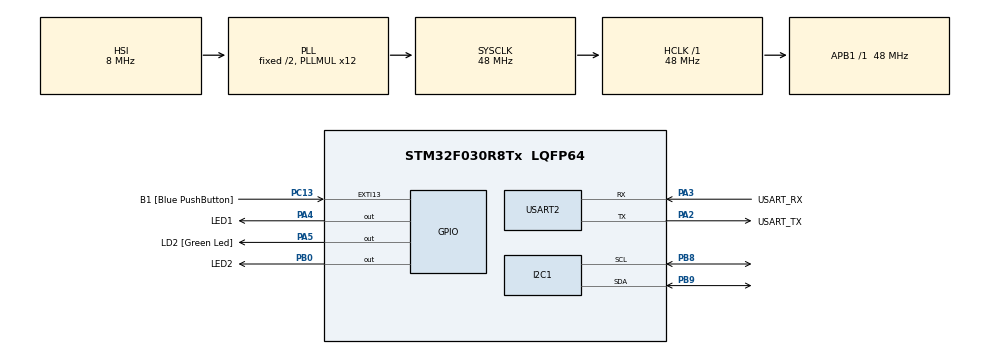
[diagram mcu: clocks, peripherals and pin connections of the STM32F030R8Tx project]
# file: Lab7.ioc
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FREERTOS.Queues01=xVisualQueue,16,uint16_t,0,Dynamic,NULL,NULL
FREERTOS.Tasks01=defaultTask,0,128,StartDefaultTask,Default,NULL,Dynamic,NULL,NULL;VisualTask,-3,128,StartVisualTask,Default,NULL,Dynamic,NULL,NULL;AcceleroTask,-3,128,StartAcceleroTask,Default,NULL,Dynamic,NULL,NULL
FREERTOS.configUSE_NEWLIB_REENTRANT=1
Mcu.Family=STM32F0
Mcu.Name=STM32F030R8Tx
Mcu.Package=LQFP64
NVIC.TIM14_IRQn=true\:3\:0\:false\:false\:true\:false\:false\:true
NVIC.TimeBase=TIM14_IRQn
NVIC.TimeBaseIP=TIM14
PA13.GPIO_Label=TMS
PA13.Mode=Serial_Wire
PA13.Signal=SYS_SWDIO
PA14.GPIO_Label=TCK
PA14.Mode=Serial_Wire
PA14.Signal=SYS_SWCLK
PA2.GPIO_Label=USART_TX
PA2.GPIO_Mode=GPIO_MODE_AF_PP
PA2.GPIO_PuPd=GPIO_NOPULL
PA2.GPIO_Speed=GPIO_SPEED_FREQ_LOW
PA2.Mode=Asynchronous
PA2.Signal=USART2_TX
PA3.GPIO_Label=USART_RX
PA3.GPIO_Mode=GPIO_MODE_AF_PP
PA3.GPIO_PuPd=GPIO_NOPULL
PA3.GPIO_Speed=GPIO_SPEED_FREQ_LOW
PA3.Mode=Asynchronous
PA3.Signal=USART2_RX
PA4.GPIO_Label=LED1
PA4.Signal=GPIO_Output
PA5.GPIO_Label=LD2 [Green Led]
PA5.GPIO_Mode=GPIO_MODE_OUTPUT_PP
PA5.GPIO_PuPd=GPIO_NOPULL
PA5.GPIO_Speed=GPIO_SPEED_FREQ_LOW
PA5.Signal=GPIO_Output
PB0.GPIO_Label=LED2
PB0.Signal=GPIO_Output
PB8.Mode=I2C
PB8.Signal=I2C1_SCL
PB9.Mode=I2C
PB9.Signal=I2C1_SDA
PC13.GPIO_Label=B1 [Blue PushButton]
PC13.GPIO_ModeDefaultEXTI=GPIO_MODE_IT_FALLING
PC13.Signal=GPXTI13
PC14-OSC32_IN.Mode=LSE-External-Oscillator
PC14-OSC32_IN.Signal=RCC_OSC32_IN
PC15-OSC32_OUT.Mode=LSE-External-Oscillator
PC15-OSC32_OUT.Signal=RCC_OSC32_OUT
PF0-OSC_IN.Mode=HSE-External-Clock-Source
PF0-OSC_IN.Signal=RCC_OSC_IN
PF1-OSC_OUT.Signal=RCC_OSC_OUT
ProjectManager.HeapSize=0x200
ProjectManager.StackSize=0x400
ProjectManager.TargetToolchain=STM32CubeIDE
RCC.AHBFreq_Value=48000000
RCC.APB1Freq_Value=48000000
RCC.APB1TimFreq_Value=48000000
RCC.HCLKFreq_Value=48000000
RCC.PLLMUL=RCC_PLL_MUL12
RCC.SYSCLKFreq_VALUE=48000000
RCC.SYSCLKSource=RCC_SYSCLKSOURCE_PLLCLK
USART2.VirtualMode-Asynchronous=VM_ASYNC
VP_FREERTOS_VS_CMSIS_V1.Mode=CMSIS_V1
VP_SYS_VS_tim14.Mode=TIM14
board=NUCLEO-F030R8

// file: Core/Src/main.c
/* USER CODE BEGIN Header */
/**
  ******************************************************************************
  * @file           : main.c
  * @brief          : Main program body
  ******************************************************************************
  * @attention
  *
  * <h2><center>&copy; Copyright (c) 2021 STMicroelectronics.
  * All rights reserved.</center></h2>
  *
  * This software component is licensed by ST under BSD 3-Clause license,
  * the "License"; You may not use this file except in compliance with the
  * License. You may obtain a copy of the License at:
  *                        opensource.org/licenses/BSD-3-Clause
  *
  ******************************************************************************
  */
/* USER CODE END Header */
#include "main.h"
#include "cmsis_os.h"

/* USER CODE BEGIN Includes */

#include "lis2dw12_reg.h"
#include "stdio.h"

/* USER CODE END Includes */

I2C_HandleTypeDef hi2c1;

UART_HandleTypeDef huart2;

osThreadId defaultTaskHandle;
osThreadId VisualTaskHandle;
osThreadId AcceleroTaskHandle;
osMessageQId xVisualQueueHandle;
/* USER CODE BEGIN PV */

/*Define context of the device*/
static int32_t platform_write(void *handle, uint8_t reg, uint8_t *bufp, uint16_t len);
static int32_t platform_read(void *handle, uint8_t reg, uint8_t *bufp, uint16_t len);
static stmdev_ctx_t lis2dw12 =
	{
	 .write_reg = platform_write,
	 .read_reg = platform_read,
	 .handle = &hi2c1,
	};

/*
 * Replace the functions "platform_write" and "platform_read" with your
 * platform specific read and write function.
 */
static int32_t platform_write(void *handle, uint8_t reg, uint8_t *bufp, uint16_t len)
{
 HAL_I2C_Mem_Write(handle, LIS2DW12_I2C_ADD_H, reg, I2C_MEMADD_SIZE_8BIT, bufp, len, 1000);
 return 0;
}

static int32_t platform_read(void *handle, uint8_t reg, uint8_t *bufp, uint16_t len)
{
 HAL_I2C_Mem_Read(handle, LIS2DW12_I2C_ADD_H, reg, I2C_MEMADD_SIZE_8BIT, bufp, len, 1000);
 return 0;
}

/* include so that printf would work*/
int _write(int file, char const *buf, int n)
{
 /* stdout redirection to UART2 */
 HAL_UART_Transmit(&huart2, (uint8_t*)(buf), n, HAL_MAX_DELAY);
 return n;
}

/* USER CODE END PV */

void SystemClock_Config(void);
static void MX_GPIO_Init(void);
static void MX_USART2_UART_Init(void);
static void MX_I2C1_Init(void);
void StartDefaultTask(void const * argument);
void StartVisualTask(void const * argument);
void StartAcceleroTask(void const * argument);

int main(void)
{

  /* MCU Configuration--------------------------------------------------------*/

  /* Reset of all peripherals, Initializes the Flash interface and the Systick. */
  HAL_Init();

  /* Configure the system clock */
  SystemClock_Config();

  /* Initialize all configured peripherals */
  MX_GPIO_Init();
  MX_USART2_UART_Init();
  MX_I2C1_Init();

  /* Create the queue(s) */
  /* definition and creation of xVisualQueue */
  osMessageQDef(xVisualQueue, 16, uint16_t);
  xVisualQueueHandle = osMessageCreate(osMessageQ(xVisualQueue), NULL);

  /* Create the thread(s) */
  /* definition and creation of defaultTask */
  osThreadDef(defaultTask, StartDefaultTask, osPriorityNormal, 0, 128);
  defaultTaskHandle = osThreadCreate(osThread(defaultTask), NULL);

  /* definition and creation of VisualTask */
  osThreadDef(VisualTask, StartVisualTask, osPriorityIdle, 0, 128);
  VisualTaskHandle = osThreadCreate(osThread(VisualTask), NULL);

  /* definition and creation of AcceleroTask */
  osThreadDef(AcceleroTask, StartAcceleroTask, osPriorityIdle, 0, 128);
  AcceleroTaskHandle = osThreadCreate(osThread(AcceleroTask), NULL);

  /* Start scheduler */
  osKernelStart();

  /* We should never get here as control is now taken by the scheduler */
  /* Infinite loop */
  while (1)
  {

  }
}

void SystemClock_Config(void)
{
  RCC_OscInitTypeDef RCC_OscInitStruct = {0};
  RCC_ClkInitTypeDef RCC_ClkInitStruct = {0};
  RCC_PeriphCLKInitTypeDef PeriphClkInit = {0};

  /** Initializes the RCC Oscillators according to the specified parameters
  * in the RCC_OscInitTypeDef structure.
  */
  RCC_OscInitStruct.OscillatorType = RCC_OSCILLATORTYPE_HSI;
  RCC_OscInitStruct.HSIState = RCC_HSI_ON;
  RCC_OscInitStruct.HSICalibrationValue = RCC_HSICALIBRATION_DEFAULT;
  RCC_OscInitStruct.PLL.PLLState = RCC_PLL_ON;
  RCC_OscInitStruct.PLL.PLLSource = RCC_PLLSOURCE_HSI;
  RCC_OscInitStruct.PLL.PLLMUL = RCC_PLL_MUL12;
  RCC_OscInitStruct.PLL.PREDIV = RCC_PREDIV_DIV1;
  if (HAL_RCC_OscConfig(&RCC_OscInitStruct) != HAL_OK)
  {
    Error_Handler();
  }
  /** Initializes the CPU, AHB and APB buses clocks
  */
  RCC_ClkInitStruct.ClockType = RCC_CLOCKTYPE_HCLK|RCC_CLOCKTYPE_SYSCLK
                              |RCC_CLOCKTYPE_PCLK1;
  RCC_ClkInitStruct.SYSCLKSource = RCC_SYSCLKSOURCE_PLLCLK;
  RCC_ClkInitStruct.AHBCLKDivider = RCC_SYSCLK_DIV1;
  RCC_ClkInitStruct.APB1CLKDivider = RCC_HCLK_DIV1;

  if (HAL_RCC_ClockConfig(&RCC_ClkInitStruct, FLASH_LATENCY_1) != HAL_OK)
  {
    Error_Handler();
  }
  PeriphClkInit.PeriphClockSelection = RCC_PERIPHCLK_I2C1;
  PeriphClkInit.I2c1ClockSelection = RCC_I2C1CLKSOURCE_HSI;
  if (HAL_RCCEx_PeriphCLKConfig(&PeriphClkInit) != HAL_OK)
  {
    Error_Handler();
  }
}

static void MX_I2C1_Init(void)
{

  hi2c1.Instance = I2C1;
  hi2c1.Init.Timing = 0x2000090E;
  hi2c1.Init.OwnAddress1 = 0;
  hi2c1.Init.AddressingMode = I2C_ADDRESSINGMODE_7BIT;
  hi2c1.Init.DualAddressMode = I2C_DUALADDRESS_DISABLE;
  hi2c1.Init.OwnAddress2 = 0;
  hi2c1.Init.OwnAddress2Masks = I2C_OA2_NOMASK;
  hi2c1.Init.GeneralCallMode = I2C_GENERALCALL_DISABLE;
  hi2c1.Init.NoStretchMode = I2C_NOSTRETCH_DISABLE;
  if (HAL_I2C_Init(&hi2c1) != HAL_OK)
  {
    Error_Handler();
  }
  /** Configure Analogue filter
  */
  if (HAL_I2CEx_ConfigAnalogFilter(&hi2c1, I2C_ANALOGFILTER_ENABLE) != HAL_OK)
  {
    Error_Handler();
  }
  /** Configure Digital filter
  */
  if (HAL_I2CEx_ConfigDigitalFilter(&hi2c1, 0) != HAL_OK)
  {
    Error_Handler();
  }

}

static void MX_USART2_UART_Init(void)
{

  huart2.Instance = USART2;
  huart2.Init.BaudRate = 38400;
  huart2.Init.WordLength = UART_WORDLENGTH_8B;
  huart2.Init.StopBits = UART_STOPBITS_1;
  huart2.Init.Parity = UART_PARITY_NONE;
  huart2.Init.Mode = UART_MODE_TX_RX;
  huart2.Init.HwFlowCtl = UART_HWCONTROL_NONE;
  huart2.Init.OverSampling = UART_OVERSAMPLING_16;
  huart2.Init.OneBitSampling = UART_ONE_BIT_SAMPLE_DISABLE;
  huart2.AdvancedInit.AdvFeatureInit = UART_ADVFEATURE_NO_INIT;
  if (HAL_UART_Init(&huart2) != HAL_OK)
  {
    Error_Handler();
  }

}

static void MX_GPIO_Init(void)
{
  GPIO_InitTypeDef GPIO_InitStruct = {0};

  /* GPIO Ports Clock Enable */
  __HAL_RCC_GPIOC_CLK_ENABLE();
  __HAL_RCC_GPIOF_CLK_ENABLE();
  __HAL_RCC_GPIOA_CLK_ENABLE();
  __HAL_RCC_GPIOB_CLK_ENABLE();

  /*Configure GPIO pin Output Level */
  HAL_GPIO_WritePin(GPIOA, LED1_Pin|LD2_Pin, GPIO_PIN_RESET);

  /*Configure GPIO pin Output Level */
  HAL_GPIO_WritePin(LED2_GPIO_Port, LED2_Pin, GPIO_PIN_RESET);

  /*Configure GPIO pin : B1_Pin */
  GPIO_InitStruct.Pin = B1_Pin;
  GPIO_InitStruct.Mode = GPIO_MODE_IT_FALLING;
  GPIO_InitStruct.Pull = GPIO_NOPULL;
  HAL_GPIO_Init(B1_GPIO_Port, &GPIO_InitStruct);

  /*Configure GPIO pins : LED1_Pin LD2_Pin */
  GPIO_InitStruct.Pin = LED1_Pin|LD2_Pin;
  GPIO_InitStruct.Mode = GPIO_MODE_OUTPUT_PP;
  GPIO_InitStruct.Pull = GPIO_NOPULL;
  GPIO_InitStruct.Speed = GPIO_SPEED_FREQ_LOW;
  HAL_GPIO_Init(GPIOA, &GPIO_InitStruct);

  /*Configure GPIO pin : LED2_Pin */
  GPIO_InitStruct.Pin = LED2_Pin;
  GPIO_InitStruct.Mode = GPIO_MODE_OUTPUT_PP;
  GPIO_InitStruct.Pull = GPIO_NOPULL;
  GPIO_InitStruct.Speed = GPIO_SPEED_FREQ_LOW;
  HAL_GPIO_Init(LED2_GPIO_Port, &GPIO_InitStruct);

}

void StartDefaultTask(void const * argument)
{
  for(;;)
  {
    osDelay(1);
  }
}

void StartVisualTask(void const * argument)
{
  /* USER CODE BEGIN StartVisualTask */
  /* Infinite loop */
  for(;;)
  {
	  /* Set condition when the LEDs will be turned on/off depending on the
	   * value set in the accelerometer task
	   * For range (-1000,1000) off, else either LED1 or LED2 is on*/
	  int16_t msg;
	  if (xQueueReceive(xVisualQueueHandle, &msg, portMAX_DELAY)) {
		  if (msg<-1000)
		  {
			  HAL_GPIO_WritePin(LED2_GPIO_Port, LED2_Pin, GPIO_PIN_RESET);
			  HAL_GPIO_WritePin(LED1_GPIO_Port, LED1_Pin, GPIO_PIN_SET);
		  }
		  else if (msg>1000)
		  {
			  HAL_GPIO_WritePin(LED1_GPIO_Port, LED1_Pin, GPIO_PIN_RESET);
			  HAL_GPIO_WritePin(LED2_GPIO_Port, LED2_Pin, GPIO_PIN_SET);
		  }
		  else
		  {
			  HAL_GPIO_WritePin(LED1_GPIO_Port, LED1_Pin, GPIO_PIN_RESET);
			  HAL_GPIO_WritePin(LED2_GPIO_Port, LED2_Pin, GPIO_PIN_RESET);
		  }

	  }
//    osDelay(1);
  }
  /* USER CODE END StartVisualTask */
}

void StartAcceleroTask(void const * argument)
{
  /* USER CODE BEGIN StartAcceleroTask */

	//	  uint16_t msg;
	uint8_t whoamI = 0;
	uint8_t samples;
	int16_t raw_acceleration[3];

	/*Initialize the accelerometer*/
	lis2dw12_full_scale_set(&lis2dw12, LIS2DW12_2g);
	lis2dw12_power_mode_set(&lis2dw12, LIS2DW12_CONT_LOW_PWR_LOW_NOISE_2);
	lis2dw12_block_data_update_set(&lis2dw12, PROPERTY_ENABLE);
	lis2dw12_fifo_mode_set(&lis2dw12, LIS2DW12_STREAM_MODE); // enable continuous FIFO
	lis2dw12_data_rate_set(&lis2dw12, LIS2DW12_XL_ODR_25Hz); // enable part from power-down

	// Check device ID
	lis2dw12_device_id_get(&lis2dw12, &whoamI);
	printf("LIS2DW12_ID %s\n", (whoamI == LIS2DW12_ID) ? "OK" : "FAIL");

  /* Infinite loop */
  for(;;)
  {
	  static uint32_t last_time;
	  // Sent the read values (once per 50ms) of the accelerometer but sent it to termite once per 1sec
	  lis2dw12_fifo_data_level_get(&lis2dw12, &samples);
	  for (uint8_t i = 0; i < samples; i++)
	  {
		  lis2dw12_acceleration_raw_get(&lis2dw12, raw_acceleration);
		  /*Condition to write to terminal each second*/
		  if (HAL_GetTick()-last_time >= 1000)
		  {
			  printf("X=%d Y=%d Z=%d\n", raw_acceleration[0], raw_acceleration[1], raw_acceleration[2]);
			  last_time = HAL_GetTick();
		  }
	  }
	  // sent the accelerometer value to queue each 50ms
	  xQueueSend(xVisualQueueHandle, &raw_acceleration[0], 0);
	  osDelay(50);

	  /*Demo testing if the communication works by directly
	   * setting the sent values - not passed by the accelerometer*/
//	  msg=0;
//	  xQueueSend(xVisualQueueHandle, &msg, 0);
//	  osDelay(300);
//	  msg=5000;
//	  xQueueSend(xVisualQueueHandle, &msg, 0);
//	  osDelay(300);
//	  msg=0;
//	  xQueueSend(xVisualQueueHandle, &msg, 0);
//	  osDelay(300);
//	  msg=-5000;
//	  xQueueSend(xVisualQueueHandle, &msg, 0);
//	  osDelay(300);

	  /* Send okay if it found the device to termite*/
//	  // Check device ID
//	  lis2dw12_device_id_get(&lis2dw12, &whoamI);
//	  printf("LIS2DW12_ID %s\n", (whoamI == LIS2DW12_ID) ? "OK" : "FAIL");
  }
  /* USER CODE END StartAcceleroTask */
}

void HAL_TIM_PeriodElapsedCallback(TIM_HandleTypeDef *htim)
{
  if (htim->Instance == TIM14) {
    HAL_IncTick();
  }
}

void Error_Handler(void)
{
  __disable_irq();
  while (1)
  {
  }
}

/************************ (C) COPYRIGHT STMicroelectronics *****END OF FILE****/
